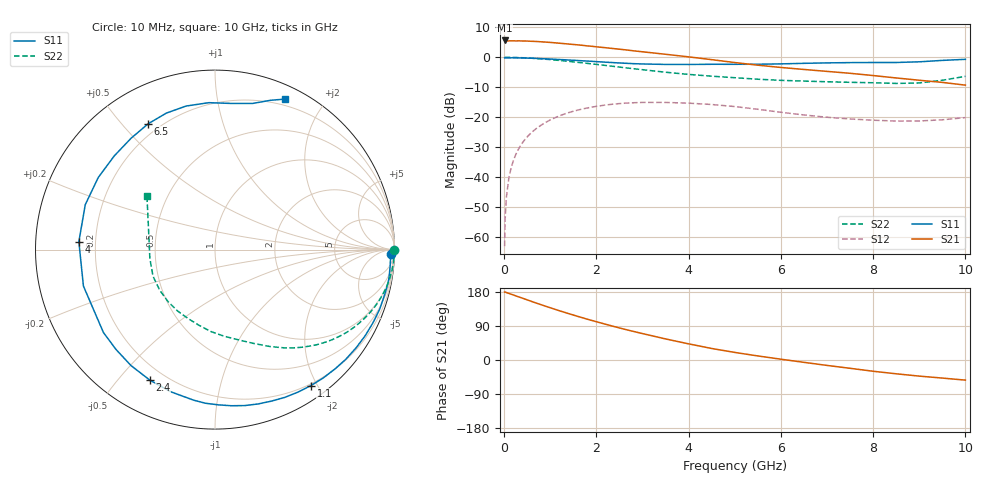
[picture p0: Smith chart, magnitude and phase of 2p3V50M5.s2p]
! (c) 2009  Infineon Technologies AG, Munich
! Infineon Technologies  Discrete & RF Semiconductors
! BFP420
! VCE =  3.5 V,  IC =  0.5 mA
! Common Emitter S-Parameters:  Nov 2009
# GHz  S  MA  R  50
!  f  S11  S21  S12  S22
! GHz  MAG  ANG  MAG  ANG  MAG  ANG  MAG  ANG
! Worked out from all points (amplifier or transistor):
!   46 points, 10 MHz to 10 GHz, reference 50 ohm
!   highest |S21| = 5.6 dB at 10 MHz (marker M1)
!   |S21| within 3 dB of that: start of sweep to 2.547 GHz
!   unconditionally stable (mu >= 1): 4.466 GHz to end of sweep
!   at 300 MHz: K = 0.02, MSG = 18.2 dB, |S12| = -31.0 dB
!   at 1.7 GHz: K = 0.26, MSG = 10.6 dB, |S12| = -17.2 dB
!   at 10 GHz: K = 1.58, MAG = 0.9 dB, |S12| = -20.1 dB
!   lowest NFmin = 0.68 dB at 900 MHz
!   S11 on the Smith chart (normalised r, x): 10 MHz: 40, -47; 1.1 GHz: 0.18, -1.92; 2.4 GHz: 0.14, -0.61; 4 GHz: 0.14, +0.03; 6.5 GHz: 0.16, +0.59; 10 GHz: 0.13, +1.56
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0.01  0.9793 -1.4  1.913 179.4  0.0007 68.2  0.9991 -0.1
0.02  0.984 -1.2  1.859 179.6  0.0019 83.9  0.9981 -0.5
0.05  0.9788 -2.2  1.872 177.9  0.0047 86.7  0.9987 -1.2
0.1  0.98 -5.0  1.88 175.9  0.0094 86.4  0.9981 -2.6
0.15  0.9809 -7.4  1.885 173.7  0.0142 85.4  0.9969 -3.9
0.25  0.9803 -12.3  1.878 169.3  0.0236 82.4  0.993 -6.5
0.4  0.9757 -19.8  1.874 163.0  0.0376 77.8  0.9836 -10.4
0.6  0.9646 -29.8  1.852 154.3  0.056 71.5  0.9658 -15.4
0.9  0.9429 -44.8  1.796 141.8  0.0819 62.1  0.9294 -22.6
1.1  0.927 -54.8  1.747 133.9  0.0977 56.1  0.9012 -27.1
1.4  0.9008 -69.6  1.666 122.3  0.1192 47.0  0.8554 -33.6
1.7  0.8747 -84.0  1.586 111.4  0.1373 38.4  0.8082 -39.4
2.4  0.8127 -116.6  1.392 87.8  0.1663 19.7  0.7017 -51.3
3  0.7744 -143.4  1.237 69.7  0.1764 5.1  0.6212 -60.4
3.5  0.7607 -164.5  1.124 55.6  0.1763 -5.6  0.5635 -67.9
4  0.7598 176.7  1.018 42.6  0.1715 -14.8  0.5182 -75.7
4.5  0.7649 160.9  0.914 30.4  0.1629 -23.2  0.4841 -84.3
5.5  0.7665 137.1  0.739 10.7  0.1356 -35.6  0.4308 -102.0
6.5  0.7936 118.0  0.627 -6.2  0.1089 -39.7  0.4007 -121.2
7  0.8073 109.7  0.582 -14.3  0.0997 -38.8  0.3907 -131.7
8.5  0.8198 83.3  0.452 -36.4  0.0861 -30.7  0.3663 -172.1
10  0.9253 65.0  0.343 -53.1  0.0984 -19.5  0.4811 142.0
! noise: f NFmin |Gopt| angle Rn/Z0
0.9  0.68  0.78  35  0.65
1.8  1.42  0.6  75  0.5
2.4  1.57  0.58  98  0.37
3  2.1  0.58  128  0.24
4  2.49  0.57  177  0.09
